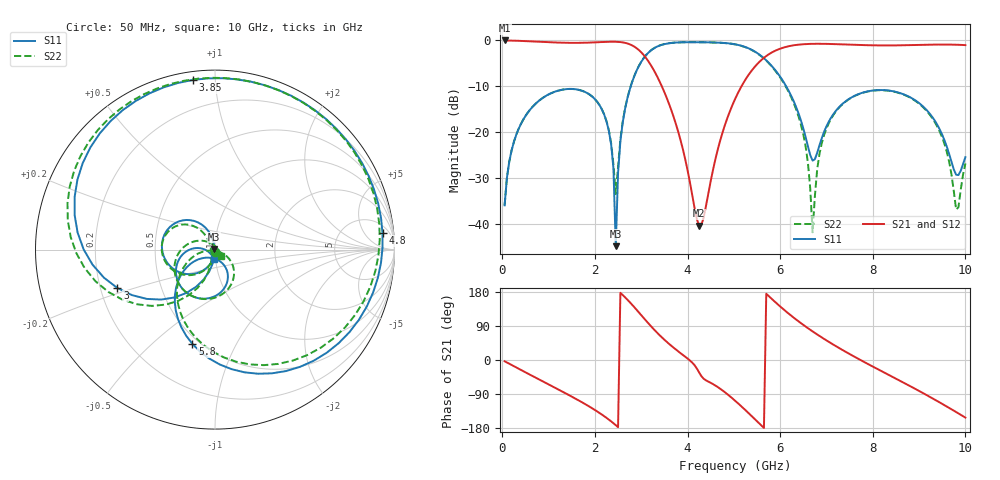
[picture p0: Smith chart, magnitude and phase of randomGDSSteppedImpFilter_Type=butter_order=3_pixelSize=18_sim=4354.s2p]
! freq	dB(S11)	phase(S11)	dB(S12)	phase(S12)
!  dB(S21)	phase(S21)	dB(S22)	phase(S22)
!S-par simulation data
#  GHz  S  DB  R 50
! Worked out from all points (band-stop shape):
!   200 points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, 50 MHz to 10 GHz, reference 50 ohm
!   highest |S21| = 0.00 dB at 50 MHz (marker M1); lowest = -40.3 dB at 4.25 GHz (marker M2)
!   |S21| within 3 dB of the highest: start of sweep to 3.038 GHz; 5.756 GHz to end of sweep
!   lowest |S11| = -44.7 dB at 2.45 GHz (marker M3), VSWR 1.01, Z = 49.6 + j0.424 ohm
!   |S11| at or under -10 dB: start of sweep to 2.773 GHz; 6.131 GHz to end of sweep
!   |S22| runs from -41.7 to -0.4 dB; largest |S21 - S12| = 0
!   S11 on the Smith chart (normalised r, x): 50 MHz: 1.00, -0.03; 3 GHz: 0.27, -0.18; 3.85 GHz: 0.04, +0.88; 4.8 GHz: 9, +14; 5.8 GHz: 0.46, -0.68; 10 GHz: 0.98, -0.10
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0.05  -35.85 -93.5  -0.00 -3.3  -0.00 -3.3  -35.85 -93.4
0.55  -15.70 -127.1  -0.17 -35.7  -0.17 -35.7  -15.70 -125.5
1.75  -11.05 153.0  -0.51 -113.6  -0.51 -113.6  -11.05 159.5
2.3  -19.59 108.8  -0.29 -157.2  -0.29 -157.2  -19.50 124.3
2.4  -27.74 100.5  -0.28 -166.8  -0.28 -166.8  -26.91 131.4
2.45  -44.72 132.7  -0.29 -171.9  -0.29 -171.9  -33.39 -179.7
2.6  -17.85 -105.0  -0.42 171.6  -0.42 171.6  -17.67 -106.7
3  -4.66 -158.6  -2.58 118.4  -2.58 118.4  -4.64 -151.6
3.4  -1.10 146.7  -8.99 65.1  -8.99 65.1  -1.09 156.6
3.85  -0.42 97.4  -21.71 17.9  -21.71 17.9  -0.41 109.6
4.25  -0.39 59.0  -40.26 -32.8  -40.26 -32.8  -0.39 72.7
4.8  -0.56 5.7  -18.62 -84.5  -18.62 -84.5  -0.56 19.5
5.05  -0.88 -20.6  -12.24 -109.9  -12.24 -109.9  -0.90 -7.6
5.8  -5.35 -103.5  -2.73 163.3  -2.73 163.3  -5.44 -97.0
6.45  -17.44 -150.6  -0.86 97.1  -0.86 97.1  -18.35 -163.2
6.7  -26.11 -109.3  -0.74 75.5  -0.74 75.5  -41.71 -112.3
6.85  -22.76 -65.9  -0.73 63.3  -0.73 63.3  -24.62 -27.4
7.1  -16.77 -61.4  -0.77 44.2  -0.77 44.2  -17.01 -43.7
8.35  -10.90 -128.2  -1.09 -39.7  -1.09 -39.7  -10.94 -129.2
9.35  -17.61 178.5  -0.90 -105.3  -0.90 -105.3  -17.93 159.3
9.8  -29.19 -148.4  -0.93 -137.3  -0.93 -137.3  -36.75 63.2
10  -25.38 -98.0  -1.01 -152.0  -1.01 -152.0  -26.73 -47.8
